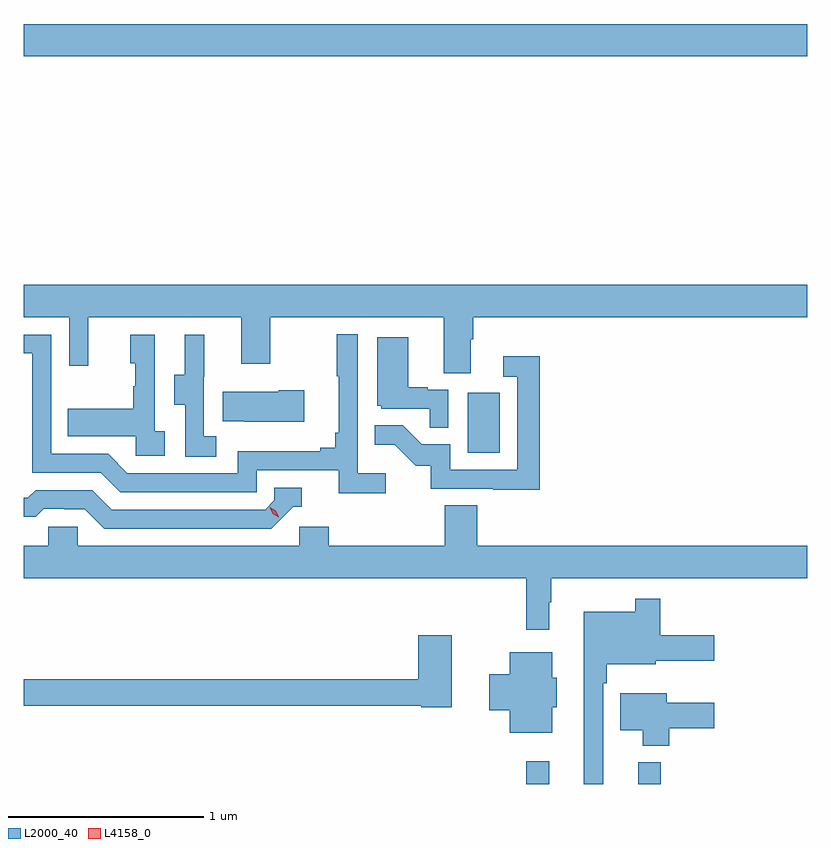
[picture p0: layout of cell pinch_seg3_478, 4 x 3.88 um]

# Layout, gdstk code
import gdstk
lib = gdstk.Library(unit=1e-6, precision=1e-09)
def R(c, l, rs):  # rectangles x0, y0, x1, y1
    for r in rs: c.add(gdstk.rectangle(r[:2], r[2:], *l))
def P(c, l, *ps):  # polygons
    for p in ps: c.add(gdstk.Polygon(p, *l))
L2000_40 = (2000, 40)
L4158_0 = (4158, 0)

pinch_seg3_478 = lib.new_cell('pinch_seg3_478')
R(pinch_seg3_478, L2000_40, [(1014.589,678.553,1014.707,678.67), (1015.16,678.553,1015.277,678.664), (1014.29,680.244,1014.454,680.551), (1012.024,682.268,1016.024,682.432)])
P(pinch_seg3_478, L2000_40, [(1014.307,680.824),(1014.32,680.824),(1014.32,680.936),(1016.024,680.936),(1016.024,681.1),(1012.024,681.1),(1012.024,680.936),(1012.257,680.936),(1012.257,680.688),(1012.355,680.688),(1012.355,680.936),(1013.135,680.936),(1013.135,680.697),(1013.283,680.697),(1013.283,680.936),(1014.167,680.936),(1014.167,680.65),(1014.307,680.65)],
  [(1013.872,680.14),(1013.73,680.14),(1013.73,680.848),(1013.622,680.848),(1013.622,680.635),(1013.633,680.635),(1013.633,680.347),(1013.614,680.347),(1013.614,680.27),(1013.537,680.27),(1013.537,680.251),(1013.118,680.251),(1013.118,680.139),(1012.554,680.139),(1012.455,680.238),(1012.164,680.238),(1012.164,680.847),(1012.024,680.847),(1012.024,680.751),(1012.068,680.751),(1012.068,680.142),(1012.418,680.142),(1012.517,680.043),(1013.214,680.043),(1013.214,680.154),(1013.633,680.154),(1013.633,680.038),(1013.872,680.038)],
  [(1013.008,680.327),(1012.944,680.327),(1012.944,680.631),(1012.946,680.631),(1012.946,680.845),(1012.847,680.845),(1012.847,680.643),(1012.793,680.643),(1012.793,680.488),(1012.848,680.488),(1012.848,680.224),(1013.008,680.224)],
  [(1012.744,680.354),(1012.692,680.354),(1012.692,680.845),(1012.568,680.845),(1012.568,680.7),(1012.594,680.7),(1012.594,680.582),(1012.584,680.582),(1012.584,680.467),(1012.249,680.467),(1012.249,680.327),(1012.596,680.327),(1012.596,680.229),(1012.744,680.229)],
  [(1014.192,680.565),(1014.086,680.565),(1014.086,680.578),(1013.986,680.578),(1013.986,680.833),(1013.828,680.833),(1013.828,680.484),(1013.85,680.484),(1013.85,680.469),(1014.097,680.469),(1014.097,680.371),(1014.192,680.371)],
  [(1014.659,680.737),(1014.471,680.737),(1014.471,680.631),(1014.543,680.631),(1014.543,680.157),(1014.201,680.157),(1014.201,680.286),(1014.057,680.286),(1013.959,680.384),(1013.815,680.384),(1013.815,680.285),(1013.919,680.285),(1014.026,680.178),(1014.103,680.178),(1014.103,680.061),(1014.421,680.061),(1014.421,680.056),(1014.659,680.056)],
  [(1013.455,680.562),(1013.327,680.562),(1013.327,680.554),(1013.041,680.554),(1013.041,680.405),(1013.149,680.405),(1013.149,680.402),(1013.455,680.402)],
  [(1013.4,679.968),(1013.443,679.968),(1013.443,680.064),(1013.304,680.064),(1013.304,680.001),(1013.256,679.953),(1012.473,679.953),(1012.374,680.052),(1012.085,680.052),(1012.046,680.013),(1012.024,680.013),(1012.024,679.917),(1012.085,679.917),(1012.127,679.959),(1012.23,679.959),(1012.23,679.956),(1012.337,679.956),(1012.436,679.857),(1013.289,679.857)],
  [(1014.706,679.481),(1014.718,679.481),(1014.718,679.604),(1016.024,679.604),(1016.024,679.768),(1014.338,679.768),(1014.338,679.976),(1014.173,679.976),(1014.173,679.768),(1013.582,679.768),(1013.582,679.866),(1013.43,679.866),(1013.43,679.768),(1012.299,679.768),(1012.299,679.866),(1012.149,679.866),(1012.149,679.768),(1012.024,679.768),(1012.024,679.604),(1014.589,679.604),(1014.589,679.341),(1014.706,679.341)],
  [(1014.981,679.067),(1015.001,679.067),(1015.001,679.163),(1015.251,679.163),(1015.251,679.181),(1015.549,679.181),(1015.549,679.311),(1015.274,679.311),(1015.274,679.498),(1015.146,679.498),(1015.146,679.432),(1014.884,679.432),(1014.884,678.553),(1014.981,678.553)],
  [(1014.208,679.312),(1014.038,679.312),(1014.038,679.088),(1012.024,679.088),(1012.024,678.952),(1014.054,678.952),(1014.054,678.944),(1014.208,678.944)],
  [(1014.721,678.945),(1014.745,678.945),(1014.745,679.095),(1014.721,679.095),(1014.721,679.225),(1014.506,679.225),(1014.506,679.112),(1014.401,679.112),(1014.401,678.929),(1014.506,678.929),(1014.506,678.815),(1014.721,678.815)],
  [(1015.319,678.838),(1015.549,678.838),(1015.549,678.967),(1015.306,678.967),(1015.306,679.015),(1015.07,679.015),(1015.07,678.827),(1015.184,678.827),(1015.184,678.749),(1015.319,678.749)])
P(pinch_seg3_478, L4158_0, [(1013.326,679.914),(1013.295,679.933),(1013.279,679.966),(1013.279,679.966),(1013.279,679.966),(1013.31,679.947),(1013.326,679.914),(1013.326,679.914)])

lib.write_gds('pinch_seg3_478.gds')
